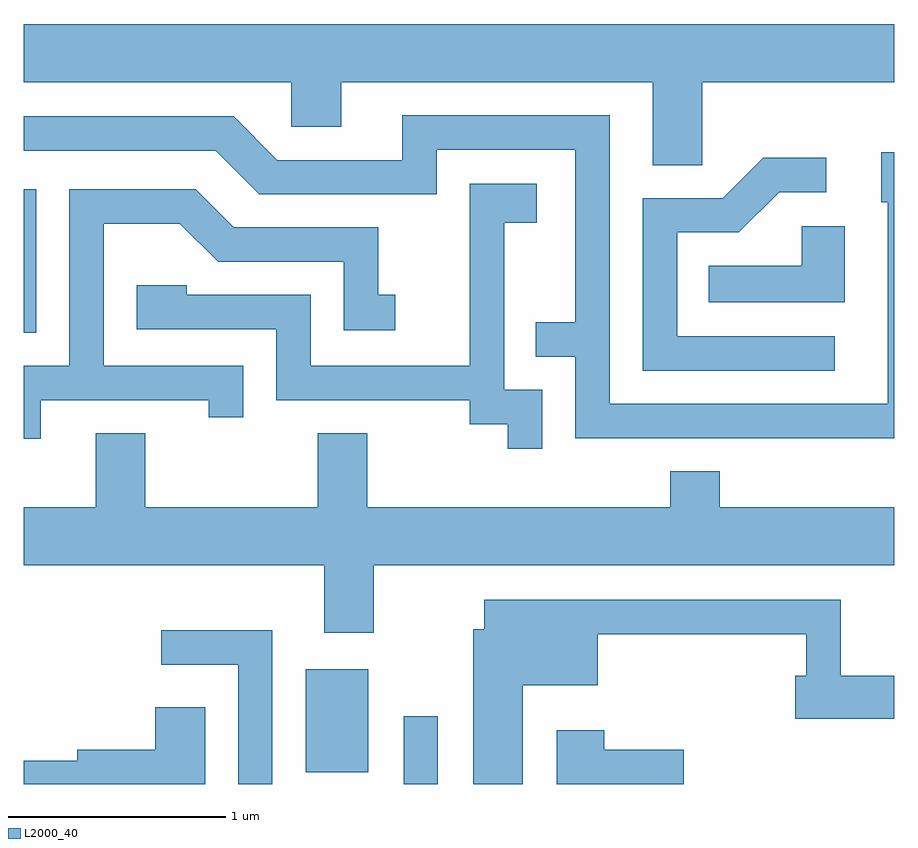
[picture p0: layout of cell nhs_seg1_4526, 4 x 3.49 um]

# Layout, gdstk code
import gdstk
lib = gdstk.Library(unit=1e-6, precision=1e-09)
def R(c, l, rs):  # rectangles x0, y0, x1, y1
    for r in rs: c.add(gdstk.rectangle(r[:2], r[2:], *l))
def P(c, l, *ps):  # polygons
    for p in ps: c.add(gdstk.Polygon(p, *l))
L2000_40 = (2000, 40)

nhs_seg1_4526 = lib.new_cell('nhs_seg1_4526')
R(nhs_seg1_4526, L2000_40, [(323.356,869.712,323.514,870.023), (322.906,869.766,323.194,870.239), (321.611,871.786,321.669,872.444)])
P(nhs_seg1_4526, L2000_40, [(324.729,872.936),(325.611,872.936),(325.611,873.204),(321.611,873.204),(321.611,872.936),(322.841,872.936),(322.841,872.731),(323.069,872.731),(323.069,872.936),(324.501,872.936),(324.501,872.556),(324.729,872.556)],
  [(325.611,872.614),(325.551,872.614),(325.551,872.386),(325.581,872.386),(325.581,871.459),(324.304,871.459),(324.304,872.784),(323.351,872.784),(323.351,872.579),(322.777,872.579),(322.577,872.779),(321.611,872.779),(321.611,872.621),(322.494,872.621),(322.694,872.421),(323.509,872.421),(323.509,872.626),(324.146,872.626),(324.146,871.834),(323.963,871.834),(323.963,871.676),(324.146,871.676),(324.146,871.301),(325.611,871.301)],
  [(325.338,871.769),(324.614,871.769),(324.614,872.246),(324.897,872.246),(325.082,872.431),(325.298,872.431),(325.298,872.589),(325.009,872.589),(324.824,872.404),(324.456,872.404),(324.456,871.611),(325.338,871.611)],
  [(323.994,871.524),(323.819,871.524),(323.819,872.291),(323.969,872.291),(323.969,872.469),(323.661,872.469),(323.661,871.634),(322.929,871.634),(322.929,871.959),(322.359,871.959),(322.359,872.004),(322.131,872.004),(322.131,871.801),(322.771,871.801),(322.771,871.476),(323.661,871.476),(323.661,871.366),(323.836,871.366),(323.836,871.253),(323.994,871.253)],
  [(321.689,871.476),(322.461,871.476),(322.461,871.398),(322.619,871.398),(322.619,871.634),(321.979,871.634),(321.979,872.286),(322.329,872.286),(322.504,872.111),(323.081,872.111),(323.081,871.796),(323.318,871.796),(323.318,871.959),(323.239,871.959),(323.239,872.269),(322.577,872.269),(322.402,872.444),(321.821,872.444),(321.821,871.634),(321.611,871.634),(321.611,871.298),(321.689,871.298)],
  [(325.384,872.274),(325.186,872.274),(325.186,872.094),(324.758,872.094),(324.758,871.926),(325.384,871.926)],
  [(323.219,870.716),(325.611,870.716),(325.611,870.984),(324.809,870.984),(324.809,871.149),(324.581,871.149),(324.581,870.984),(323.189,870.984),(323.189,871.324),(322.961,871.324),(322.961,870.984),(322.169,870.984),(322.169,871.324),(321.941,871.324),(321.941,870.984),(321.611,870.984),(321.611,870.716),(322.991,870.716),(322.991,870.406),(323.219,870.406)],
  [(323.904,870.166),(324.249,870.166),(324.249,870.401),(325.206,870.401),(325.206,870.209),(325.156,870.209),(325.156,870.011),(325.611,870.011),(325.611,870.209),(325.364,870.209),(325.364,870.559),(323.726,870.559),(323.726,870.424),(323.676,870.424),(323.676,869.712),(323.904,869.712)],
  [(322.754,870.419),(322.243,870.419),(322.243,870.261),(322.596,870.261),(322.596,869.712),(322.754,869.712)],
  [(322.444,870.064),(322.216,870.064),(322.216,869.869),(321.856,869.869),(321.856,869.819),(321.611,869.819),(321.611,869.712),(322.444,869.712)],
  [(324.644,869.869),(324.279,869.869),(324.279,869.959),(324.061,869.959),(324.061,869.712),(324.644,869.712)])

lib.write_gds('nhs_seg1_4526.gds')
